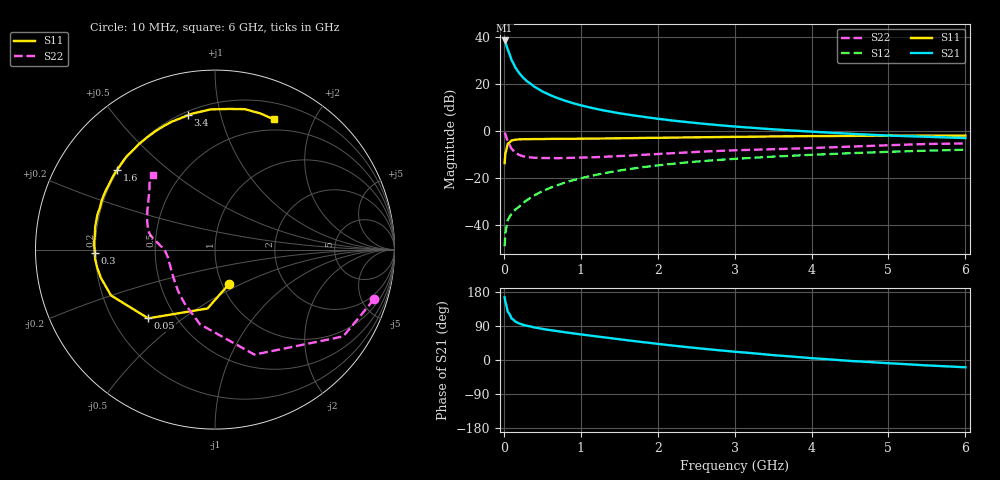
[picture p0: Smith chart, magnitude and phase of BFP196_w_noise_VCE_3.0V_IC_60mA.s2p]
! Infineon Technologies  Discrete & RF Semiconductors
! BFP196
! VCE =  3.0 V,  IC =  60 mA
! Common Emitter S-Parameters:  Jan 2017
# GHz  S  MA  R  50
!  f  S11  S21  S12  S22
! GHz  MAG  ANG  MAG  ANG  MAG  ANG  MAG  ANG
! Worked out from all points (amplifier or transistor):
!   77 points, 10 MHz to 6 GHz, reference 50 ohm
!   highest |S21| = 38.6 dB at 10 MHz (marker M1)
!   |S21| within 3 dB of that: start of sweep to 41.65 MHz
!   unconditionally stable (mu >= 1): 470.5 MHz to 2.462 GHz
!   at 130 MHz: K = 0.68, MSG = 31.3 dB, |S12| = -34.2 dB
!   at 2.2 GHz: K = 1.01, MAG = 8.6 dB, |S12| = -14.0 dB
!   at 6 GHz: K = 0.96, MSG = 2.5 dB, |S12| = -8.0 dB
!   lowest NFmin = 1.56 dB at 450 MHz
!   S11 on the Smith chart (normalised r, x): 10 MHz: 1.08, -0.43; 50 MHz: 0.35, -0.38; 300 MHz: 0.20, -0.01; 1.6 GHz: 0.20, +0.34; 3.4 GHz: 0.22, +0.79; 6 GHz: 0.37, +1.48
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0.01  0.2066 -67.6  85.51 165.6  0.0035 74.8  0.9281 -17.4
0.02  0.3307 -97.2  79.94 152.9  0.0065 72.7  0.8627 -34.1
0.05  0.5341 -134.2  54.89 127.4  0.0124 55.4  0.6251 -69.4
0.1  0.6331 -156.2  32.62 109.4  0.0172 55.1  0.4238 -101.5
0.15  0.6549 -166.0  22.58 101.4  0.0211 56.8  0.3442 -119.6
0.2  0.6641 -171.4  17.17 96.4  0.0245 61.0  0.3094 -131.6
0.25  0.6697 -175.4  13.83 92.7  0.0291 61.9  0.2894 -139.8
0.3  0.6703 -178.4  11.57 90.2  0.0335 64.2  0.2792 -146.2
0.4  0.6745 176.8  8.743 85.7  0.0427 67.3  0.2692 -154.8
0.5  0.6745 172.7  7.005 82.1  0.052 67.7  0.2653 -160.6
0.6  0.6796 169.3  5.865 78.9  0.0612 68.2  0.2652 -164.9
0.7  0.6807 166.2  5.028 76.1  0.07 68.3  0.264 -168.2
0.8  0.6834 163.3  4.409 73.0  0.0803 67.6  0.2658 -170.7
0.9  0.6822 160.2  3.92 70.3  0.0893 66.6  0.2688 -172.7
1.1  0.6895 154.4  3.234 65.0  0.1076 64.5  0.2743 -176.4
1.6  0.703 140.9  2.26 52.2  0.1519 58.1  0.2966 177.1
2.1  0.7203 128.0  1.749 40.3  0.1924 51.0  0.3302 172.1
3.1  0.7538 106.9  1.214 20.2  0.2606 36.9  0.3923 162.3
3.4  0.7632 101.5  1.118 14.8  0.2782 33.2  0.4051 158.5
4.1  0.7816 90.3  0.95 3.5  0.316 24.5  0.44 148.6
5.1  0.7991 76.7  0.791 -9.6  0.364 12.7  0.5041 136.4
6  0.796 65.8  0.708 -19.2  0.3998 2.8  0.5427 129.9
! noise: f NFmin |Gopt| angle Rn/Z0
0.45  1.56  0.41  -174  0.06
0.9  1.72  0.48  -162  0.08
1.9  2.54  0.68  -132  0.35
2.4  2.93  0.7  -119  0.72
